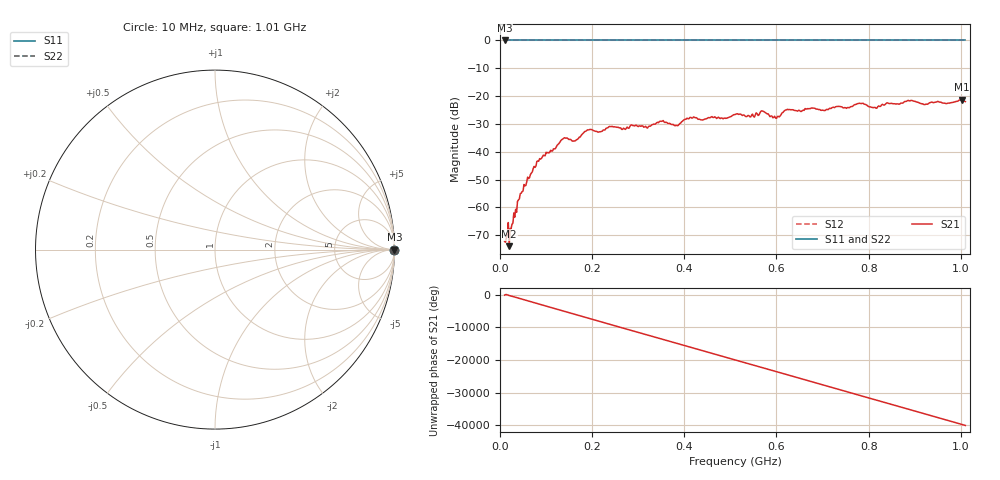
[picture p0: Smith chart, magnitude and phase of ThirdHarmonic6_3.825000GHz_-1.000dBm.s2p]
! 8/17/2025 1:17:22 PM
! C:\ANRITSUVNA\TEMP\TEMP.S2P
! CHANNEL.1
! TR.MEASUREMENT
! RAW.DATA
! RF.CORRECTION.OFF
! AVERAGING.OFF
! IF.BANDWIDTH: 5KHZ
! SWEEPTYPE:  FREQ.SWEEP(Linear)
! Reference Plane Port Info
! PORT:  PORT1  PORT2
! DISTANCE:  0  m  0  m
! TIME:  0  s  0  s
! PHASE.OFFSET:  0  deg.  0  deg.
! LOSS:  0  dB  0  dB
! REF.LOSS:  0  dB  0  dB
! REF.FREQ:  0  Hz  0  Hz
! Power Info
! POWER:  -20  dBm  -20  dBm
! EFF.POWER:  -20  dBm  -20  dBm
! SOURCE.ATTEN:  0  dB  0  dB
! TEST.ATTEN:  0  dB  0  dB
# GHZ S RI R 50.0
! FREQ.GHZ  S11RE  S11IM  S21RE  S21IM  S12RE  S12IM  S22RE  S22IM
!; PortSelection: Port_12
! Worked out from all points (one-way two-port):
!   501 points, 10 MHz to 1.01 GHz, reference 50 ohm
!   highest |S21| = -21.28 dB at 1.002 GHz (marker M1); lowest = -74.0 dB at 20 MHz (marker M2)
!   lowest |S11| = 0.0 dB at 10 MHz (marker M3)
!   |S11| at or under -10 dB: nowhere
!   |S22| runs from 0.0 to 0.0 dB; largest |S21 - S12| = 1.1
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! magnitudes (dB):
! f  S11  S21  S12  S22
! 10 MHz  0.0  -72.3  0.0  0.0
! 20 MHz  0.0  -74.0  0.0  0.0
! 24 MHz  0.0  -67.7  0.0  0.0
! 42 MHz  0.0  -56.9  0.0  0.0
! 84 MHz  0.0  -43.4  0.0  0.0
! 136 MHz  0.0  -35.5  0.0  0.0
! 160 MHz  0.0  -36.2  0.0  0.0
! 178 MHz  0.0  -33.8  0.0  0.0
! 194 MHz  0.0  -32.1  0.0  0.0
! 322 MHz  0.0  -31.0  0.0  0.0
! 344 MHz  0.0  -29.6  0.0  0.0
! 382 MHz  0.0  -30.5  0.0  0.0
! 410 MHz  0.0  -28.1  0.0  0.0
! 510 MHz  0.0  -26.6  0.0  0.0
! 570 MHz  0.0  -25.4  0.0  0.0
! 596 MHz  0.0  -27.2  0.0  0.0
! 622 MHz  0.0  -24.9  0.0  0.0
! 678 MHz  0.0  -24.3  0.0  0.0
! 814 MHz  0.0  -24.1  0.0  0.0
! 844 MHz  0.0  -22.7  0.0  0.0
! 1.002 GHz  0.0  -21.3  0.0  0.0
! 1.01 GHz  0.0  -22.0  0.0  0.0
